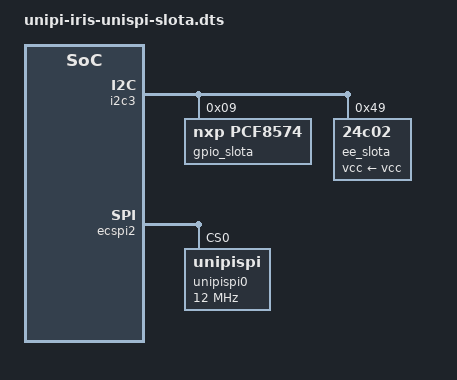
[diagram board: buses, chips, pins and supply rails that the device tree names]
// SPDX-License-Identifier: (GPL-2.0+ OR MIT)
/*
 * Device Tree fragment for Unipi Gate PRO IQRF board, v0.3
 *
 * Copyright 2021 Faster CZ, spol. s r.o.
 *
 * IQRF card is in slot A.
 */

/dts-v1/;

#include <dt-bindings/clock/imx8mm-clock.h>
#include <dt-bindings/reset/imx8mq-reset.h>
#include <dt-bindings/gpio/gpio.h>
#include <dt-bindings/input/input.h>
#include <dt-bindings/interrupt-controller/arm-gic.h>
#include <dt-bindings/reset/imx8mm-dispmix.h>
#include <dt-bindings/thermal/thermal.h>

#include "imx8mm-pinfunc.h"

/plugin/;

/ {
	fragment@0 {
		target = <&i2c3>;
		__overlay__ {
       		#address-cells = <1>;
	    	#size-cells = <0>;

	        gpio_slota: pca9501@9 {
        		compatible = "nxp,pcf8574";
		        gpio-controller;
        		#gpio-cells = <2>;
		        reg = <0x09>;
        	    gpio-line-names = "SLOTA_XX",
		        	  "","",
		        	  "","","","","";
	        };

            ee_slota@49 {
                compatible = "24c02";
                reg = <0x49>;
                vcc-supply = <&vcc>;
            };
		};
	};

	fragment@1 {
		target = <&ecspi2>;
		__overlay__ {
	        status = "okay";
       		#address-cells = <1>;
	    	#size-cells = <0>;

            unipispi0: unipispi@0 {
                compatible = "unipispi";
                reg = <0>;
                status = "okay";
                spi-max-frequency = <12000000>;
                /*
        		pinctrl-names = "default";
		        pinctrl-0 = <&pinctrl_ecspi_int>;
                interrupt-parent = <&gpio5>;
                interrupts = <20 IRQ_TYPE_EDGE_RISING>;   // gpio5.20
                */
                neuron-board-index = <0>;
            };
		};
	};
};

